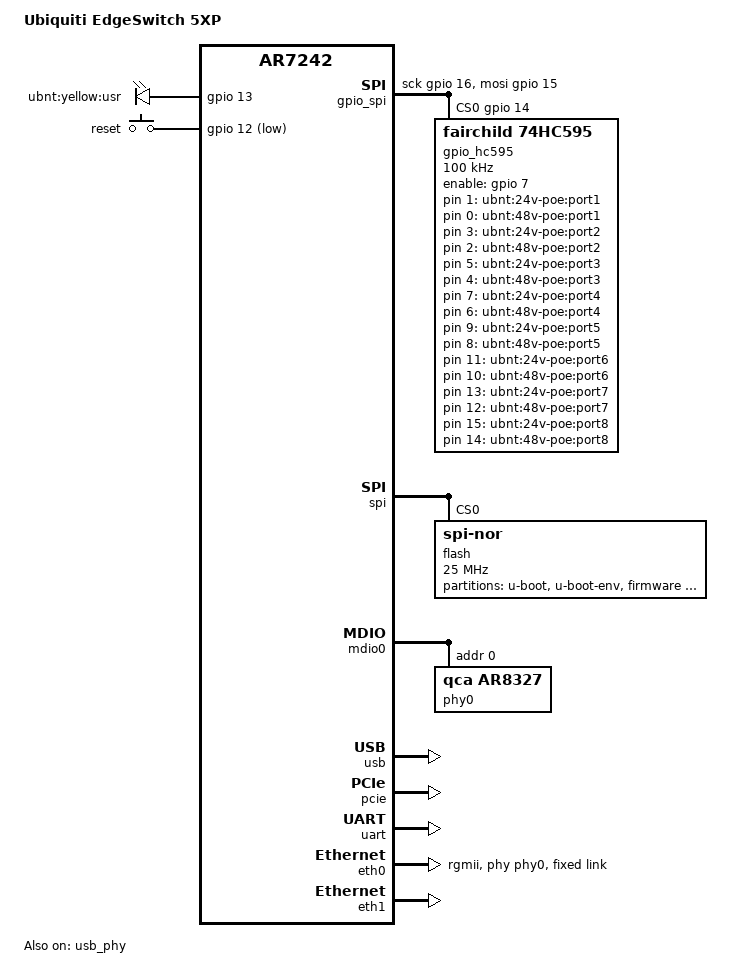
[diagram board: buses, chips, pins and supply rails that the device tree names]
// SPDX-License-Identifier: GPL-2.0-or-later OR MIT
/dts-v1/;

#include <dt-bindings/gpio/gpio.h>
#include <dt-bindings/input/input.h>

#include "ar7242.dtsi"

/ {
	compatible = "ubnt,edgeswitch-5xp", "qca,ar7242";
	model = "Ubiquiti EdgeSwitch 5XP";

	chosen {
		bootargs = "console=ttyS0,115200n8";
	};

	aliases {
		led-boot = &led_usr;
		led-failsafe = &led_usr;
		led-running = &led_usr;
		led-upgrade = &led_usr;
	};

	leds {
		compatible = "gpio-leds";

		led_usr: usr {
			label = "ubnt:yellow:usr";
			gpios = <&gpio 13 GPIO_ACTIVE_HIGH>;
		};
	};

	keys {
		compatible = "gpio-keys";

		reset {
			linux,code = <KEY_RESTART>;
			gpios = <&gpio 12 GPIO_ACTIVE_LOW>;
			debounce-interval = <60>;
		};
	};

	gpio_spi {
		compatible = "spi-gpio";
		#address-cells = <0x1>;
		ranges;

		sck-gpios = <&gpio 16 GPIO_ACTIVE_HIGH>;
		mosi-gpios = <&gpio 15 GPIO_ACTIVE_HIGH>;
		cs-gpios = <&gpio 14 GPIO_ACTIVE_HIGH>;
		num-chipselects = <1>;

		gpio_hc595: gpio_spi@0 {
			compatible = "fairchild,74hc595";
			reg = <0>;
			registers-number = <2>;
			spi-max-frequency = <100000>;
			enable-gpios = <&gpio 7 GPIO_ACTIVE_HIGH>;

			gpio-controller;
			#gpio-cells = <2>;

		};
	};
	
	gpio-export {
		compatible = "gpio-export";

		poe_24v_port1 {
			gpio-export,name = "ubnt:24v-poe:port1";
			gpio-export,output = <0>;
			gpios = <&gpio_hc595 1 GPIO_ACTIVE_HIGH>;
		};

		poe_48v_port1 {
			gpio-export,name = "ubnt:48v-poe:port1";
			gpio-export,output = <0>;
			gpios = <&gpio_hc595 0 GPIO_ACTIVE_HIGH>;
		};

		poe_24v_port2 {
			gpio-export,name = "ubnt:24v-poe:port2";
			gpio-export,output = <0>;
			gpios = <&gpio_hc595 3 GPIO_ACTIVE_HIGH>;
		};

		poe_48v_port2 {
			gpio-export,name = "ubnt:48v-poe:port2";
			gpio-export,output = <0>;
			gpios = <&gpio_hc595 2 GPIO_ACTIVE_HIGH>;
		};

		poe_24v_port3 {
			gpio-export,name = "ubnt:24v-poe:port3";
			gpio-export,output = <0>;
			gpios = <&gpio_hc595 5 GPIO_ACTIVE_HIGH>;
		};

		poe_48v_port3 {
			gpio-export,name = "ubnt:48v-poe:port3";
			gpio-export,output = <0>;
			gpios = <&gpio_hc595 4 GPIO_ACTIVE_HIGH>;
		};

		poe_24v_port4 {
			gpio-export,name = "ubnt:24v-poe:port4";
			gpio-export,output = <0>;
			gpios = <&gpio_hc595 7 GPIO_ACTIVE_HIGH>;
		};

		poe_48v_port4 {
			gpio-export,name = "ubnt:48v-poe:port4";
			gpio-export,output = <0>;
			gpios = <&gpio_hc595 6 GPIO_ACTIVE_HIGH>;
		};

		poe_24v_port5 {
			gpio-export,name = "ubnt:24v-poe:port5";
			gpio-export,output = <0>;
			gpios = <&gpio_hc595 9 GPIO_ACTIVE_HIGH>;
		};

		poe_48v_port5 {
			gpio-export,name = "ubnt:48v-poe:port5";
			gpio-export,output = <0>;
			gpios = <&gpio_hc595 8 GPIO_ACTIVE_HIGH>;
		};

		poe_24v_port6 {
			gpio-export,name = "ubnt:24v-poe:port6";
			gpio-export,output = <0>;
			gpios = <&gpio_hc595 11 GPIO_ACTIVE_HIGH>;
		};

		poe_48v_port6 {
			gpio-export,name = "ubnt:48v-poe:port6";
			gpio-export,output = <0>;
			gpios = <&gpio_hc595 10 GPIO_ACTIVE_HIGH>;
		};

		poe_24v_port7 {
			gpio-export,name = "ubnt:24v-poe:port7";
			gpio-export,output = <0>;
			gpios = <&gpio_hc595 13 GPIO_ACTIVE_HIGH>;
		};

		poe_48v_port7 {
			gpio-export,name = "ubnt:48v-poe:port7";
			gpio-export,output = <0>;
			gpios = <&gpio_hc595 12 GPIO_ACTIVE_HIGH>;
		};

		poe_24v_port8 {
			gpio-export,name = "ubnt:24v-poe:port8";
			gpio-export,output = <0>;
			gpios = <&gpio_hc595 15 GPIO_ACTIVE_HIGH>;
		};

		poe_48v_port8 {
			gpio-export,name = "ubnt:48v-poe:port8";
			gpio-export,output = <0>;
			gpios = <&gpio_hc595 14 GPIO_ACTIVE_HIGH>;
		};
	};
};

&spi {
	status = "okay";

	num-cs = <1>;

	flash@0 {
		compatible = "jedec,spi-nor";
		reg = <0>;
		spi-max-frequency = <25000000>;

		partitions {
			compatible = "fixed-partitions";
			#address-cells = <1>;
			#size-cells = <1>;

			partition@0 {
				reg = <0x000000 0x040000>;
				label = "u-boot";
				read-only;
			};

			partition@40000 {
				reg = <0x040000 0x010000>;
				label = "u-boot-env";
				read-only;
			};

			partition@50000 {
				compatible = "denx,uimage";
				reg = <0x050000 0x760000>;
				label = "firmware";
			};

			partition@7b0000 {
				reg = <0x7b0000 0x040000>;
				label = "cfg";
				read-only;
			};

			art: partition@7f0000 {
				reg = <0x7f0000 0x010000>;
				label = "art";
				read-only;
			};
		};
	};
};

&mdio0 {
	status = "okay";

	phy0: ethernet-switch@0 {
		compatible = "qca,ar8327";
		reg = <0x0>;
		phy-mode = "rgmii";

		qca,ar8327-initvals = <
			0x04 0x05100000 /* PORT0 PAD MODE CTRL */
			0x0c 0x05100000 /* PORT6 PAD MODE CTRL */
			0x50 0xffb7ffb7 /* LED_CTRL0 */
			0x54 0xffb7ffb7 /* LED_CTRL1 */
			0x58 0xffb7ffb7 /* LED_CTRL2 */
			0x5c 0x03ffff00 /* LED_CTRL3 */
			0x7c 0x0000007e /* PORT0_STATUS */
			0x94 0x0000007e /* PORT6_STATUS */
		>;
	};
};

&usb_phy {
	status = "okay";
};

&usb {
	#address-cells = <1>;
	#size-cells = <0>;
	status = "okay";

	hub_port: port@1 {
		reg = <1>;
		#trigger-source-cells = <0>;
	};
};

&pcie {
	status = "okay";
};

&uart {
	status = "okay";
};

&eth0 {
	status = "okay";

	phy-mode = "rgmii";
//	pll-data = <0x16000000 0x00000101 0x00001313>;
	mtd-mac-address = <&art 0x0>;

	phy-handle = <&phy0>;
	fixed-link {
		speed = <1000>;
		full-duplex;
	};
};

&eth1 {
	status = "okay";

	mtd-mac-address = <&art 0x6>;
};
